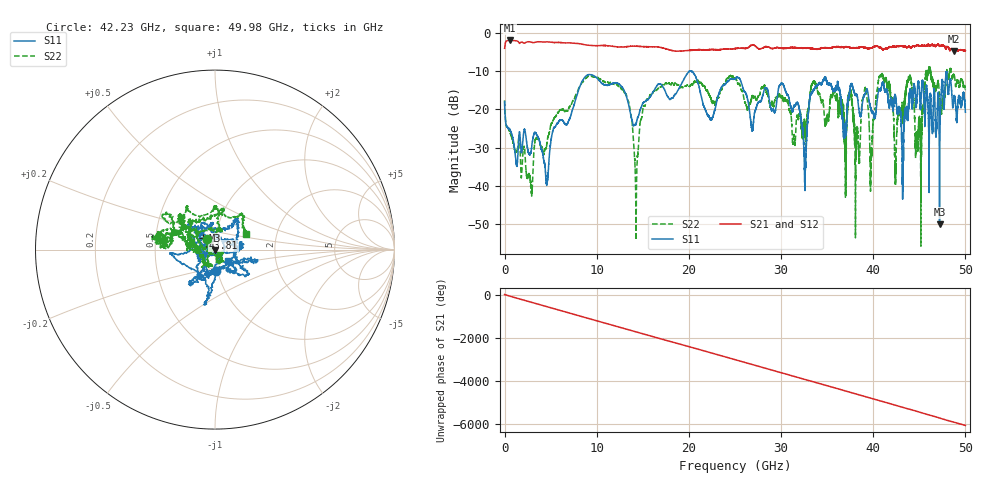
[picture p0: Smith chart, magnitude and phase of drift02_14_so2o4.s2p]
!Created with skrf (http://scikit-rf.org).
# Hz S RI R 50.0
!freq ReS11 ImS11 ReS21 ImS21 ReS12 ImS12 ReS22 ImS22
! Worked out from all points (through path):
!   10001 points, 300 kHz to 50 GHz, reference 50 ohm
!   highest |S21| = -1.99 dB at 625.3 MHz (marker M1); lowest = -4.9 dB at 48.76 GHz (marker M2)
!   group delay of S21, straight-line fit = 337 ps
!   lowest |S11| = -50.0 dB at 47.2 GHz (marker M3), VSWR 1.01, Z = 49.7 - j0.153 ohm
!   |S11| at or under -10 dB: start of sweep to 20.06 GHz; 20.20829 GHz to 20.21343 GHz (5.136 MHz wide, 0.0254 % of centre); 20.24 GHz to end of sweep (the widest 3 of 5)
!   |S22| runs from -55.7 to -8.9 dB; largest |S21 - S12| = 0.033
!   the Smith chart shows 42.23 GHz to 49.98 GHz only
!   S11 on the Smith chart (normalised r, x): 42.23 GHz: 0.98, -0.23; 43.81 GHz: 0.87, +0.11; 49.98 GHz: 1.15, -0.15
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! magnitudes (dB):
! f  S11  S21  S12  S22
! 300 kHz  -17.9  -4.0  -4.0  -17.6
! 625.3 MHz  -25.5  -2.0  -2.0  -26.3
! 4.565 GHz  -39.7  -2.4  -2.4  -29.3
! 8.335 GHz  -13.0  -2.9  -2.9  -13.2
! 13.02 GHz  -15.3  -3.7  -3.7  -15.7
! 14.28 GHz  -23.7  -3.5  -3.5  -49.4
! 16.67 GHz  -13.4  -3.7  -3.7  -14.5
! 25 GHz  -12.0  -4.1  -4.1  -12.0
! 30.18 GHz  -13.4  -4.1  -4.1  -16.8
! 32.56 GHz  -39.1  -3.9  -4.0  -24.5
! 33.34 GHz  -15.8  -4.0  -4.1  -13.5
! 37.5 GHz  -14.4  -3.8  -3.9  -16.2
! 38.28 GHz  -16.9  -4.0  -3.9  -24.8
! 41.67 GHz  -18.4  -3.8  -3.9  -13.0
! 42.23 GHz  -18.6  -3.5  -3.6  -22.6
! 43.81 GHz  -20.7  -3.6  -3.6  -12.2
! 44.99 GHz  -14.0  -3.3  -3.3  -21.8
! 45.91 GHz  -18.0  -3.2  -3.1  -11.1
! 47.2 GHz  -50.0  -3.5  -3.4  -16.8
! 48.76 GHz  -16.9  -4.9  -4.8  -10.8
! 49.98 GHz  -20.3  -4.7  -4.6  -14.4
! 50 GHz  -20.7  -4.6  -4.6  -14.8
